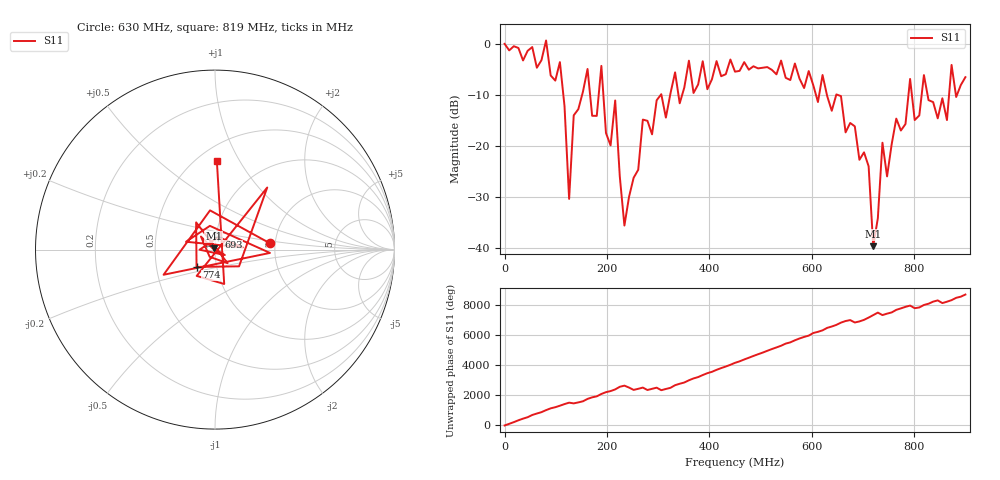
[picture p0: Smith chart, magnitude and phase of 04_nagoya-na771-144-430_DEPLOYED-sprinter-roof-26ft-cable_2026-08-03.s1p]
! Antenna S11 sweep  |  Nagoya NA-771 (144/430MHz whip) on Eifagur mag mount on SPRINTER ROOF (metal ground plane present) + 16.4ft mount cable + 10ft KMR400 extension = ~26ft total feedline. FULLY DEPLOYED real-world config. System match best 720MHz VSWR1.02; ~13.5MHz ripple = 26ft cable standing w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
! Device: NanoVNA-H fw1.2.44  |  cal 50kHz-900MHz  |  101 points
# Hz S RI R 50
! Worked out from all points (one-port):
!   101 points, 50 kHz to 900 MHz, reference 50 ohm
!   lowest |S11| = -39.7 dB at 720 MHz (marker M1), VSWR 1.02, Z = 49.3 + j0.703 ohm
!   |S11| at or under -10 dB: 192.9 MHz to 305.2 MHz (112.2 MHz wide, 45.1 % of centre); 649.9 MHz to 788.8 MHz (138.9 MHz wide, 19.3 % of centre); 826.1 MHz to 868.1 MHz (42.05 MHz wide, 4.96 % of centre) (the widest 3 of 11)
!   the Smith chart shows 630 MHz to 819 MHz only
!   S11 on the Smith chart (normalised r, x): 630 MHz: 1.87, +0.15; 693 MHz: 1.03, +0.15; 774 MHz: 0.80, -0.16; 819 MHz: 0.62, +0.81
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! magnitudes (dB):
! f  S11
! 50 kHz  0.0
! 81.05 MHz  0.7
! 117 MHz  -12.2
! 126 MHz  -30.4
! 135 MHz  -14.0
! 180 MHz  -14.1
! 189 MHz  -4.3
! 207 MHz  -19.9
! 216 MHz  -11.1
! 225 MHz  -26.1
! 234 MHz  -35.7
! 270 MHz  -14.9
! 342 MHz  -11.7
! 450 MHz  -5.5
! 567 MHz  -3.9
! 630 MHz  -10.2
! 675 MHz  -15.5
! 693 MHz  -22.8
! 711 MHz  -24.0
! 720 MHz  -39.7
! 738 MHz  -19.4
! 774 MHz  -17.0
! 792 MHz  -6.9
! 801 MHz  -15.0
! 819 MHz  -6.1
! 864 MHz  -15.0
! 873 MHz  -4.1
! 900 MHz  -6.5
